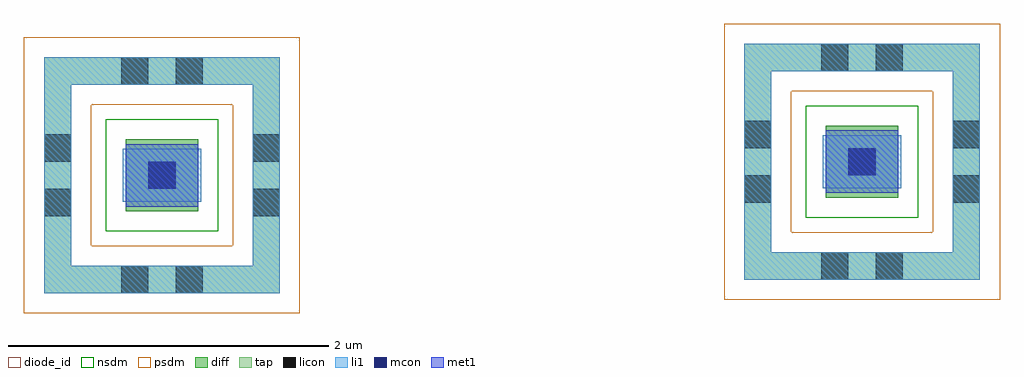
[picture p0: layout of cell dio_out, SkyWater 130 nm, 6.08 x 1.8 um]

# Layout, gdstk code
import gdstk
lib = gdstk.Library(unit=1e-6, precision=1e-09)
def R(c, l, rs):  # rectangles x0, y0, x1, y1
    for r in rs: c.add(gdstk.rectangle(r[:2], r[2:], *l))
diff = (65, 20)
tap = (65, 44)
licon = (66, 44)
li1 = (67, 20)
mcon = (67, 44)
met1 = (68, 20)
diode_id = (81, 23)
nsdm = (93, 44)
psdm = (94, 20)

dio_out = lib.new_cell('dio_out')
R(dio_out, diff, [(0.425,0.425,0.875,0.875), (4.79,0.51,5.24,0.96)])
R(dio_out, tap, [(-0.085,-0.085,1.385,0.085), (4.28,0,5.75,0.17), (-0.085,0.085,0.085,1.215), (1.215,0.085,1.385,1.215), (4.28,0.17,4.45,1.3), (5.58,0.17,5.75,1.3), (-0.085,1.215,1.385,1.385), (4.28,1.3,5.75,1.47)])
R(dio_out, licon, [(0.395,-0.085,0.565,0.085), (0.735,-0.085,0.905,0.085), (4.76,0,4.93,0.17), (5.1,0,5.27,0.17), (-0.085,0.395,0.085,0.565), (1.215,0.395,1.385,0.565), (4.28,0.48,4.45,0.65), (5.58,0.48,5.75,0.65), (0.565,0.565,0.735,0.735), (4.93,0.65,5.1,0.82), (-0.085,0.735,0.085,0.905), (1.215,0.735,1.385,0.905), (4.28,0.82,4.45,0.99), (5.58,0.82,5.75,0.99), (0.395,1.215,0.565,1.385), (0.735,1.215,0.905,1.385), (4.76,1.3,4.93,1.47), (5.1,1.3,5.27,1.47)])
R(dio_out, li1, [(-0.085,-0.085,1.385,0.085), (4.28,0,5.75,0.17), (-0.085,0.085,0.085,1.215), (1.215,0.085,1.385,1.215), (4.28,0.17,4.45,1.3), (5.58,0.17,5.75,1.3), (0.405,0.485,0.895,0.815), (4.77,0.57,5.26,0.9), (-0.085,1.215,1.385,1.385), (4.28,1.3,5.75,1.47)])
R(dio_out, mcon, [(0.565,0.565,0.735,0.735), (4.93,0.65,5.1,0.82)])
R(dio_out, met1, [(0.425,0.455,0.875,0.845), (4.79,0.54,5.24,0.93)])
R(dio_out, diode_id, [(0.425,0.425,0.875,0.875), (4.79,0.51,5.24,0.96)])
R(dio_out, nsdm, [(0.3,0.3,1,1), (4.665,0.385,5.365,1.085)])
R(dio_out, psdm, [(-0.21,-0.21,1.51,0.21), (4.155,-0.125,5.875,0.295), (-0.21,0.21,0.21,1.09), (1.09,0.21,1.51,1.09), (4.155,0.295,4.575,1.175), (5.455,0.295,5.875,1.175), (-0.21,1.09,1.51,1.51), (4.155,1.175,5.875,1.595)])

lib.write_gds('dio_out.gds')
